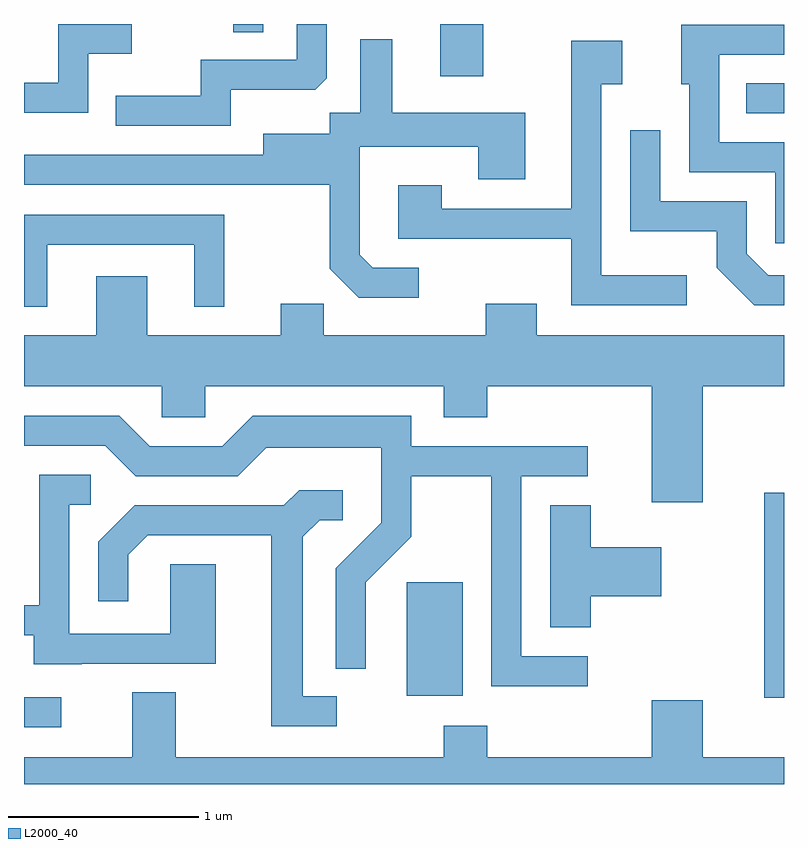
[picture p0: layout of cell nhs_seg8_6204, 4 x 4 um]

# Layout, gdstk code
import gdstk
lib = gdstk.Library(unit=1e-6, precision=1e-09)
def R(c, l, rs):  # rectangles x0, y0, x1, y1
    for r in rs: c.add(gdstk.rectangle(r[:2], r[2:], *l))
def P(c, l, *ps):  # polygons
    for p in ps: c.add(gdstk.Polygon(p, *l))
L2000_40 = (2000, 40)

nhs_seg8_6204 = lib.new_cell('nhs_seg8_6204')
R(nhs_seg8_6204, L2000_40, [(371.611,1814.641,371.808,1814.799), (375.506,1814.796,375.611,1815.874), (373.626,1814.806,373.919,1815.404), (375.413,1817.871,375.611,1818.029), (373.801,1818.066,374.029,1818.342), (372.711,1818.298,372.869,1818.342)])
P(nhs_seg8_6204, L2000_40, [(371.949,1818.186),(372.178,1818.186),(372.178,1818.342),(371.791,1818.342),(371.791,1818.034),(371.611,1818.034),(371.611,1817.876),(371.949,1817.876)],
  [(372.699,1817.996),(373.144,1817.996),(373.204,1818.057),(373.204,1818.342),(373.046,1818.342),(373.046,1818.154),(372.541,1818.154),(372.541,1817.964),(372.093,1817.964),(372.093,1817.806),(372.699,1817.806)],
  [(375.611,1817.719),(375.269,1817.719),(375.269,1818.181),(375.611,1818.181),(375.611,1818.339),(375.071,1818.339),(375.071,1818.026),(375.111,1818.026),(375.111,1817.561),(375.566,1817.561),(375.566,1817.188),(375.611,1817.188)],
  [(373.688,1817.059),(373.447,1817.059),(373.379,1817.127),(373.379,1817.696),(374.001,1817.696),(374.001,1817.526),(374.249,1817.526),(374.249,1817.874),(373.549,1817.874),(373.549,1818.263),(373.381,1818.263),(373.381,1817.874),(373.221,1817.874),(373.221,1817.764),(372.871,1817.764),(372.871,1817.654),(371.611,1817.654),(371.611,1817.496),(373.221,1817.496),(373.221,1817.054),(373.374,1816.901),(373.688,1816.901)],
  [(375.098,1817.019),(374.649,1817.019),(374.649,1818.026),(374.759,1818.026),(374.759,1818.254),(374.491,1818.254),(374.491,1817.369),(373.809,1817.369),(373.809,1817.494),(373.581,1817.494),(373.581,1817.211),(374.491,1817.211),(374.491,1816.861),(375.098,1816.861)],
  [(375.611,1817.019),(375.527,1817.019),(375.414,1817.132),(375.414,1817.409),(374.959,1817.409),(374.959,1817.783),(374.801,1817.783),(374.801,1817.251),(375.256,1817.251),(375.256,1817.059),(375.454,1816.861),(375.611,1816.861)],
  [(371.734,1817.181),(372.506,1817.181),(372.506,1816.853),(372.664,1816.853),(372.664,1817.339),(371.611,1817.339),(371.611,1816.853),(371.734,1816.853)],
  [(375.184,1816.436),(375.611,1816.436),(375.611,1816.704),(374.309,1816.704),(374.309,1816.869),(374.041,1816.869),(374.041,1816.704),(373.189,1816.704),(373.189,1816.869),(372.961,1816.869),(372.961,1816.704),(372.259,1816.704),(372.259,1817.014),(371.991,1817.014),(371.991,1816.704),(371.611,1816.704),(371.611,1816.436),(372.336,1816.436),(372.336,1816.271),(372.564,1816.271),(372.564,1816.436),(373.821,1816.436),(373.821,1816.271),(374.049,1816.271),(374.049,1816.436),(374.916,1816.436),(374.916,1815.826),(375.184,1815.826)],
  [(374.578,1815.014),(374.229,1815.014),(374.229,1815.961),(374.578,1815.961),(374.578,1816.119),(373.649,1816.119),(373.649,1816.279),(372.814,1816.279),(372.654,1816.119),(372.272,1816.119),(372.112,1816.279),(371.611,1816.279),(371.611,1816.121),(372.039,1816.121),(372.199,1815.961),(372.737,1815.961),(372.887,1816.111),(373.491,1816.111),(373.491,1815.717),(373.251,1815.477),(373.251,1814.948),(373.409,1814.948),(373.409,1815.404),(373.649,1815.644),(373.649,1815.961),(374.071,1815.961),(374.071,1814.856),(374.578,1814.856)],
  [(371.915,1814.976),(372.619,1814.976),(372.619,1815.499),(372.381,1815.499),(372.381,1815.134),(371.849,1815.134),(371.849,1815.811),(371.963,1815.811),(371.963,1815.969),(371.691,1815.969),(371.691,1815.284),(371.611,1815.284),(371.611,1815.126),(371.661,1815.126),(371.661,1814.971),(371.915,1814.971)],
  [(373.258,1814.804),(373.079,1814.804),(373.079,1815.644),(373.167,1815.731),(373.288,1815.731),(373.288,1815.889),(373.059,1815.889),(372.979,1815.809),(372.194,1815.809),(372.001,1815.617),(372.001,1815.303),(372.159,1815.303),(372.159,1815.549),(372.262,1815.651),(372.911,1815.651),(372.911,1814.646),(373.258,1814.646)],
  [(374.594,1815.331),(374.964,1815.331),(374.964,1815.589),(374.594,1815.589),(374.594,1815.809),(374.381,1815.809),(374.381,1815.166),(374.594,1815.166)],
  [(375.611,1814.484),(375.184,1814.484),(375.184,1814.784),(374.916,1814.784),(374.916,1814.484),(374.049,1814.484),(374.049,1814.649),(373.821,1814.649),(373.821,1814.484),(372.409,1814.484),(372.409,1814.824),(372.181,1814.824),(372.181,1814.484),(371.611,1814.484),(371.611,1814.342),(375.611,1814.342)])

lib.write_gds('nhs_seg8_6204.gds')
